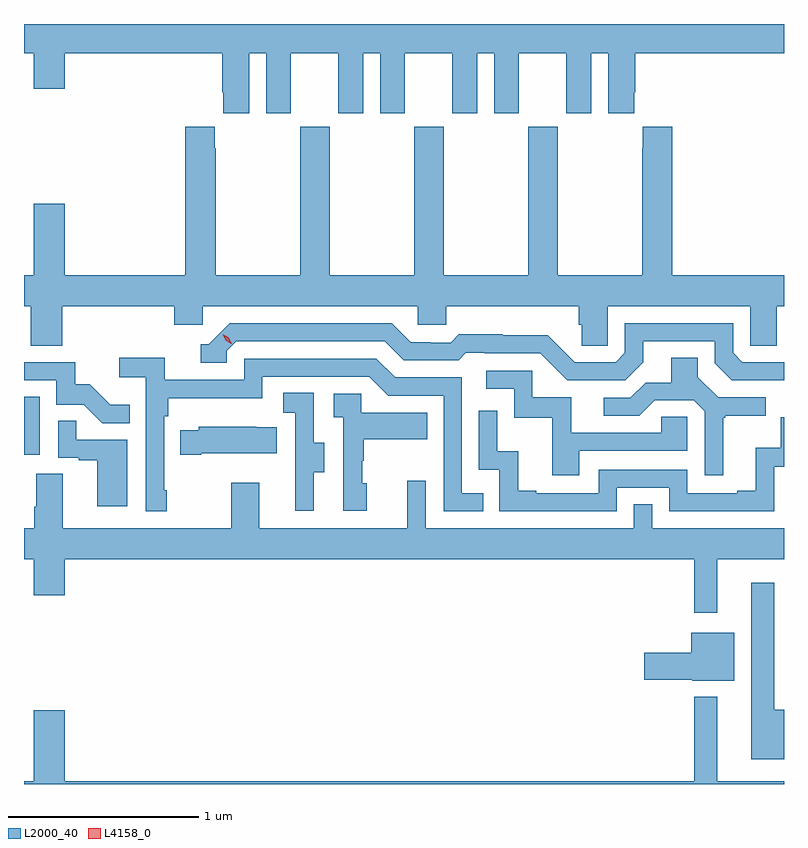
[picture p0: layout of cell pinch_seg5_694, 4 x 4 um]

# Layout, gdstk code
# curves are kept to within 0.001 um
import gdstk
lib = gdstk.Library(unit=1e-6, precision=1e-09)
def R(c, l, rs):  # rectangles x0, y0, x1, y1
    for r in rs: c.add(gdstk.rectangle(r[:2], r[2:], *l))
def P(c, l, *ps):  # polygons
    for p in ps: c.add(gdstk.Polygon(p, *l))
L2000_40 = (2000, 40)
L4158_0 = (4158, 0)

pinch_seg5_694 = lib.new_cell('pinch_seg5_694')
R(pinch_seg5_694, L2000_40, [(1141.98,838.662,1142.062,838.969)])
P(pinch_seg5_694, L2000_40, [(1143.166,840.776),(1143.254,840.776),(1143.254,840.459),(1143.385,840.459),(1143.385,840.776),(1143.635,840.776),(1143.635,840.459),(1143.766,840.459),(1143.766,840.776),(1143.854,840.776),(1143.854,840.459),(1143.985,840.459),(1143.985,840.776),(1144.235,840.776),(1144.235,840.459),(1144.366,840.459),(1144.366,840.776),(1144.454,840.776),(1144.454,840.459),(1144.585,840.459),(1144.585,840.776),(1144.835,840.776),(1144.835,840.459),(1144.966,840.459),(1144.966,840.776),(1145.054,840.776),(1145.054,840.459),(1145.191,840.459),(1145.191,840.571),(1145.198,840.571),(1145.198,840.776),(1145.98,840.776),(1145.98,840.93),(1141.98,840.93),(1141.98,840.776),(1142.03,840.776),(1142.03,840.588),(1142.194,840.588),(1142.194,840.776),(1143.023,840.776),(1143.023,840.571),(1143.029,840.571),(1143.029,840.459),(1143.166,840.459)],
  [(1142.18,839.444),(1142.771,839.444),(1142.771,839.346),(1142.922,839.346),(1142.922,839.444),(1144.053,839.444),(1144.053,839.346),(1144.203,839.346),(1144.203,839.444),(1144.901,839.444),(1144.901,839.346),(1144.915,839.346),(1144.915,839.236),(1145.052,839.236),(1145.052,839.444),(1145.802,839.444),(1145.802,839.236),(1145.941,839.236),(1145.941,839.444),(1145.98,839.444),(1145.98,839.608),(1145.393,839.608),(1145.393,840.388),(1145.237,840.388),(1145.237,840.275),(1145.233,840.275),(1145.233,839.608),(1144.788,839.608),(1144.788,840.388),(1144.633,840.388),(1144.633,839.608),(1144.188,839.608),(1144.188,840.388),(1144.033,840.388),(1144.033,839.608),(1143.588,839.608),(1143.588,840.388),(1143.433,840.388),(1143.433,839.608),(1142.988,839.608),(1142.988,840.275),(1142.983,840.275),(1142.983,840.388),(1142.828,840.388),(1142.828,839.608),(1142.194,839.608),(1142.194,839.983),(1142.03,839.983),(1142.03,839.608),(1141.98,839.608),(1141.98,839.444),(1142.015,839.444),(1142.015,839.236),(1142.18,839.236)],
  [(1145.98,839.151),(1145.76,839.151),(1145.712,839.199),(1145.712,839.355),(1145.142,839.355),(1145.142,839.199),(1145.094,839.151),(1144.878,839.151),(1144.736,839.293),(1144.5,839.293),(1144.5,839.296),(1144.267,839.296),(1144.225,839.253),(1144.122,839.253),(1144.122,839.256),(1144.015,839.256),(1143.916,839.355),(1143.063,839.355),(1142.952,839.244),(1142.909,839.244),(1142.909,839.148),(1143.048,839.148),(1143.048,839.211),(1143.096,839.259),(1143.879,839.259),(1143.978,839.16),(1144.267,839.16),(1144.306,839.199),(1144.405,839.199),(1144.405,839.196),(1144.698,839.196),(1144.839,839.055),(1145.145,839.055),(1145.239,839.149),(1145.239,839.259),(1145.616,839.259),(1145.616,839.145),(1145.706,839.055),(1145.98,839.054)],
  [(1142.731,838.477),(1142.718,838.477),(1142.718,838.865),(1142.738,838.865),(1142.738,838.961),(1143.234,838.961),(1143.234,839.073),(1143.798,839.073),(1143.897,838.974),(1144.188,838.974),(1144.188,838.365),(1144.397,838.365),(1144.397,838.461),(1144.284,838.461),(1144.284,839.07),(1143.934,839.07),(1143.835,839.169),(1143.138,839.169),(1143.138,839.058),(1142.72,839.058),(1142.72,839.174),(1142.481,839.174),(1142.481,839.072),(1142.622,839.072),(1142.622,838.365),(1142.731,838.365)],
  [(1145.659,838.857),(1145.671,838.857),(1145.671,838.868),(1145.884,838.868),(1145.884,838.965),(1145.634,838.965),(1145.527,839.072),(1145.527,839.174),(1145.387,839.174),(1145.387,839.042),(1145.252,839.042),(1145.172,838.962),(1145.031,838.962),(1145.031,838.869),(1145.218,838.869),(1145.299,838.95),(1145.505,838.95),(1145.562,838.893),(1145.562,838.554),(1145.659,838.554)],
  [(1142.537,838.927),(1142.433,838.927),(1142.326,839.034),(1142.25,839.034),(1142.25,839.151),(1141.98,839.151),(1141.98,839.055),(1142.151,839.055),(1142.151,838.926),(1142.295,838.926),(1142.393,838.828),(1142.537,838.828)],
  [(1144.903,838.683),(1145.472,838.683),(1145.472,838.863),(1145.335,838.863),(1145.335,838.779),(1144.861,838.779),(1144.861,838.965),(1144.656,838.965),(1144.656,839.106),(1144.413,839.106),(1144.413,839.01),(1144.56,839.01),(1144.56,838.857),(1144.759,838.857),(1144.759,838.554),(1144.903,838.554)],
  [(1143.505,838.57),(1143.559,838.57),(1143.559,838.725),(1143.504,838.725),(1143.504,838.988),(1143.345,838.988),(1143.345,838.885),(1143.408,838.885),(1143.408,838.581),(1143.407,838.581),(1143.407,838.368),(1143.505,838.368)],
  [(1143.784,838.512),(1143.759,838.512),(1143.759,838.631),(1143.769,838.631),(1143.769,838.745),(1144.103,838.745),(1144.103,838.885),(1143.756,838.885),(1143.756,838.983),(1143.609,838.983),(1143.609,838.859),(1143.66,838.859),(1143.66,838.368),(1143.784,838.368)],
  [(1145.1,838.488),(1145.376,838.488),(1145.376,838.365),(1145.928,838.365),(1145.928,838.601),(1145.98,838.601),(1145.98,838.86),(1145.964,838.86),(1145.964,838.699),(1145.831,838.699),(1145.831,838.474),(1145.735,838.474),(1145.735,838.461),(1145.472,838.461),(1145.472,838.584),(1145.004,838.584),(1145.004,838.461),(1144.675,838.461),(1144.675,838.474),(1144.58,838.474),(1144.58,838.682),(1144.47,838.682),(1144.47,838.894),(1144.374,838.894),(1144.374,838.584),(1144.482,838.584),(1144.482,838.365),(1145.1,838.365)],
  [(1142.524,838.743),(1142.255,838.743),(1142.255,838.841),(1142.16,838.841),(1142.16,838.647),(1142.267,838.647),(1142.267,838.635),(1142.366,838.635),(1142.366,838.392),(1142.524,838.392)],
  [(1142.914,838.67),(1143.311,838.67),(1143.311,838.807),(1143.203,838.807),(1143.203,838.81),(1142.901,838.81),(1142.901,838.792),(1142.803,838.792),(1142.803,838.663),(1142.914,838.663)],
  [(1145.629,838.112),(1145.98,838.112),(1145.98,838.276),(1145.286,838.276),(1145.286,838.403),(1145.19,838.403),(1145.19,838.276),(1144.095,838.276),(1144.095,838.525),(1143.998,838.525),(1143.998,838.276),(1143.217,838.276),(1143.217,838.516),(1143.07,838.516),(1143.07,838.276),(1142.185,838.276),(1142.185,838.562),(1142.045,838.562),(1142.045,838.388),(1142.033,838.388),(1142.033,838.276),(1141.98,838.276),(1141.98,838.112),(1142.03,838.112),(1142.03,837.924),(1142.194,837.924),(1142.194,838.112),(1145.508,838.112),(1145.508,837.831),(1145.629,837.831)],
  [(1145.98,837.322),(1145.929,837.322),(1145.929,837.988),(1145.807,837.988),(1145.807,837.059),(1145.98,837.059)],
  [(1145.719,837.727),(1145.492,837.727),(1145.492,837.621),(1145.244,837.621),(1145.244,837.479),(1145.496,837.479),(1145.496,837.473),(1145.719,837.473)],
  [(1145.98,836.944),(1145.629,836.944),(1145.629,837.388),(1145.508,837.388),(1145.508,836.944),(1142.194,836.944),(1142.194,837.319),(1142.03,837.319),(1142.03,836.944),(1141.98,836.944),(1141.98,836.93),(1145.98,836.93)])
P(pinch_seg5_694, L4158_0, [(1143.072,839.246),(1143.042,839.266),(1143.026,839.298),(1143.026,839.298),(1143.027,839.298),(1143.057,839.279),(1143.073,839.246),(1143.073,839.246)])

lib.write_gds('pinch_seg5_694.gds')
